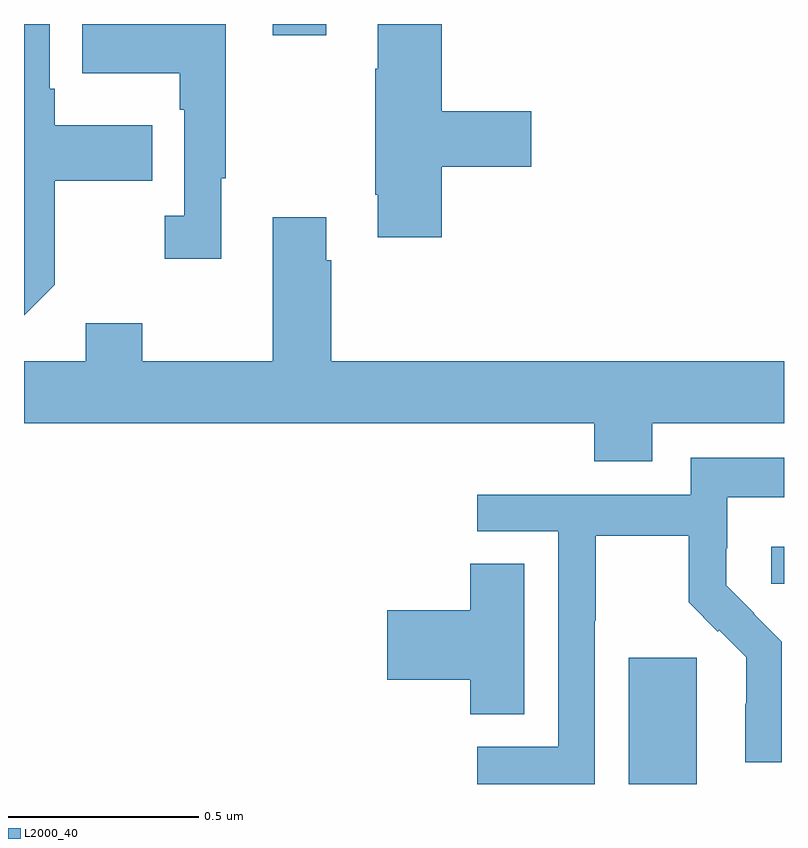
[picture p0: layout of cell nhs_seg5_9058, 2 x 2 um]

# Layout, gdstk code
import gdstk
lib = gdstk.Library(unit=1e-6, precision=1e-09)
def R(c, l, rs):  # rectangles x0, y0, x1, y1
    for r in rs: c.add(gdstk.rectangle(r[:2], r[2:], *l))
def P(c, l, *ps):  # polygons
    for p in ps: c.add(gdstk.Polygon(p, *l))
L2000_40 = (2000, 40)

nhs_seg5_9058 = lib.new_cell('nhs_seg5_9058')
R(nhs_seg5_9058, L2000_40, [(230.591,867.799,230.77,868.131), (230.967,868.326,231,868.423), (229.655,869.769,229.795,869.799)])
P(nhs_seg5_9058, L2000_40, [(229.081,869.113),(229.081,869.386),(229.337,869.386),(229.337,869.533),(229.081,869.533),(229.081,869.629),(229.068,869.629),(229.068,869.799),(229,869.799),(229,869.032)],
  [(230.099,869.423),(230.335,869.423),(230.335,869.57),(230.099,869.57),(230.099,869.799),(229.931,869.799),(229.931,869.681),(229.924,869.681),(229.924,869.35),(229.931,869.35),(229.931,869.238),(230.099,869.238)],
  [(229.519,869.393),(229.531,869.393),(229.531,869.799),(229.153,869.799),(229.153,869.669),(229.41,869.669),(229.41,869.573),(229.422,869.573),(229.422,869.294),(229.371,869.294),(229.371,869.181),(229.519,869.181)],
  [(230.653,868.748),(231,868.748),(231,868.912),(229.808,868.912),(229.808,869.177),(229.795,869.177),(229.795,869.29),(229.655,869.29),(229.655,868.912),(229.311,868.912),(229.311,869.011),(229.163,869.011),(229.163,868.912),(229,868.912),(229,868.748),(230.501,868.748),(230.501,868.649),(230.653,868.649)],
  [(230.502,868.228),(230.505,868.228),(230.505,868.452),(230.749,868.452),(230.749,868.277),(230.826,868.2),(230.829,868.203),(230.9,868.133),(230.9,868.01),(230.898,868.01),(230.898,867.856),(230.994,867.856),(230.994,868.174),(230.921,868.247),(230.922,868.248),(230.848,868.322),(230.848,868.419),(230.85,868.419),(230.85,868.553),(231,868.553),(231,868.657),(230.754,868.657),(230.754,868.56),(230.193,868.56),(230.193,868.464),(230.406,868.464),(230.406,867.897),(230.193,867.897),(230.193,867.799),(230.502,867.799)],
  [(230.317,868.379),(230.174,868.379),(230.174,868.256),(229.956,868.256),(229.956,868.073),(230.174,868.073),(230.174,867.982),(230.317,867.982)])

lib.write_gds('nhs_seg5_9058.gds')
